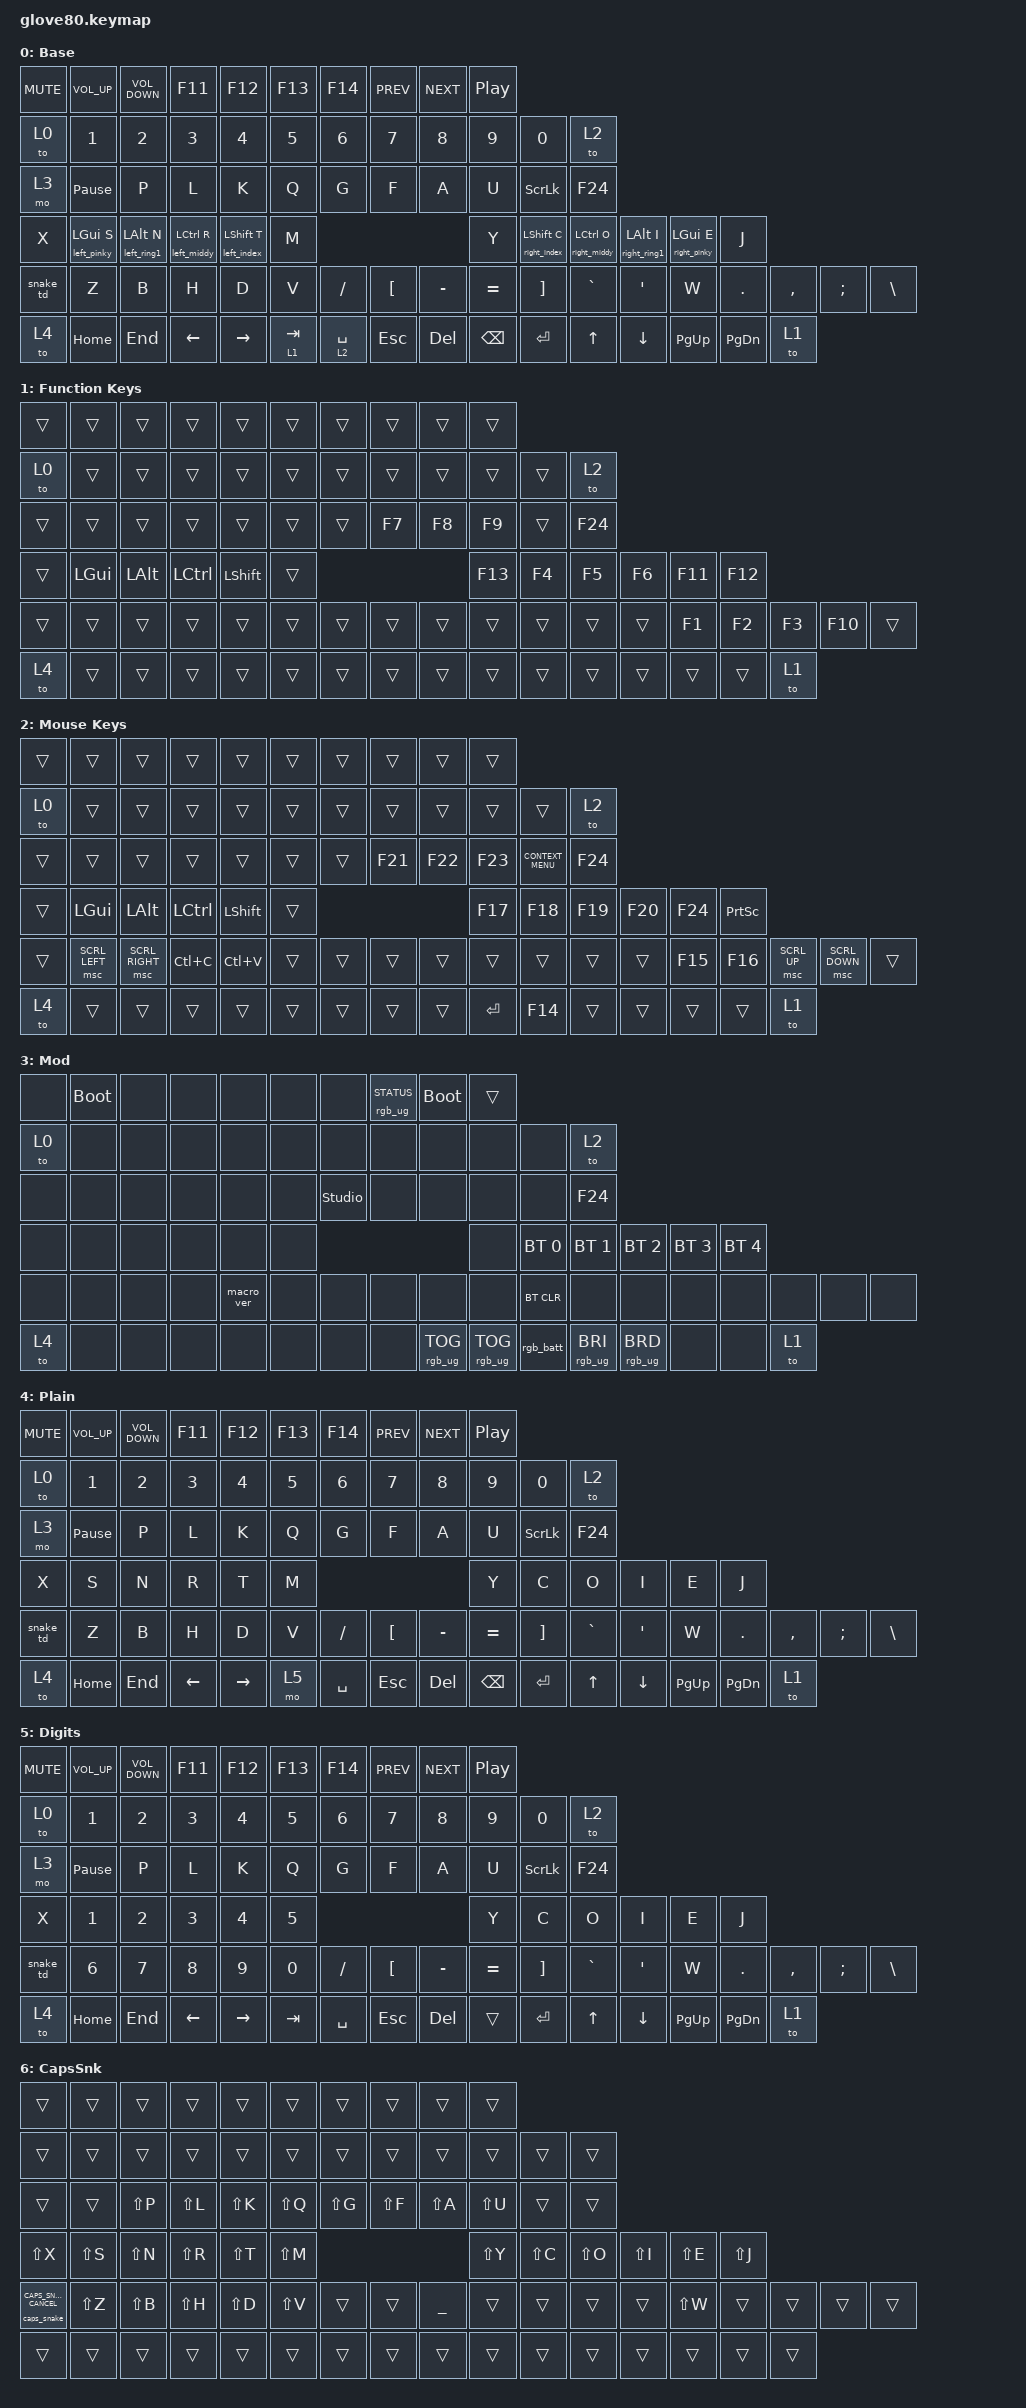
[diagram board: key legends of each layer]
// Generated by node bin/sync_glove80.mjs from config/adv360.keymap.
// See README.md: Glove80 layout mapping and hardware adaptations.
#define GLOVE80 1
#define LEFT_HAND_KEYS 0 1 2 3 4 10 11 12 13 14 15 22 23 24 25 26 27 34 35 36 37 38 39 46 47 48 49 50 51 64 65 66 67 68
#define RIGHT_HAND_KEYS 5 6 7 8 9 16 17 18 19 20 21 28 29 30 31 32 33 40 41 42 43 44 45 58 59 60 61 62 63 75 76 77 78 79
#define THUMB_KEYS 52 53 54 55 56 57 69 70 71 72 73 74
#include "../keyboard-behaviors.dtsi"

/ {
    keymap {
        compatible = "zmk,keymap";

        default_layer {
            display-name = "Base";
            bindings = <
                &kp C_MUTE  &kp C_VOLUME_UP  &kp C_VOLUME_DOWN  &kp F11  &kp F12  &kp F13  &kp F14  &kp C_PREV  &kp C_NEXT  &kp C_PLAY_PAUSE
                &to 0  &kp NUMBER_1  &kp N2  &kp N3  &kp N4  &kp N5  &kp N6  &kp N7  &kp N8  &kp N9  &kp N0  &to 2
                &mo 3  &kp PAUSE_BREAK  &kp P  &kp L  &kp K  &kp Q  &kp G  &kp F  &kp A  &kp U  &kp SCROLLLOCK  &kp F24
                &kp X  &left_pinky LGUI S  &left_ring1 LALT N  &left_middy LCTRL R  &left_index LSHFT T  &kp M  &kp Y  &right_index LSHFT C  &right_middy LCTRL O  &right_ring1 LALT I  &right_pinky LGUI E  &kp J
                &snake_td  &kp Z  &kp B  &kp H  &kp D  &kp V  &kp SLASH  &kp LEFT_BRACKET  &kp MINUS  &kp EQUAL  &kp RIGHT_BRACKET  &kp GRAVE  &kp SQT  &kp W  &kp PERIOD  &kp COMMA  &kp SEMICOLON  &kp BACKSLASH
                &to 4  &kp HOME  &kp END  &kp LEFT  &kp RIGHT  &lt 1 TAB  &lt 2 SPACE  &kp ESCAPE  &kp DELETE  &kp BACKSPACE  &kp ENTER  &kp UP  &kp DOWN  &kp PAGE_UP  &kp PAGE_DOWN  &to 1
            >;
        };

        Function_Keys {
            display-name = "Function Keys";
            bindings = <
                &trans  &trans  &trans  &trans  &trans  &trans  &trans  &trans  &trans  &trans
                &to 0  &trans  &trans  &trans  &trans  &trans  &trans  &trans  &trans  &trans  &trans  &to 2
                &trans  &trans  &trans  &trans  &trans  &trans  &trans  &kp F7  &kp F8  &kp F9  &trans  &kp F24
                &trans  &kp LEFT_GUI  &kp LEFT_ALT  &kp LCTRL  &kp LEFT_SHIFT  &trans  &kp F13  &kp F4  &kp F5  &kp F6  &kp F11  &kp F12
                &trans  &trans  &trans  &trans  &trans  &trans  &trans  &trans  &trans  &trans  &trans  &trans  &trans  &kp F1  &kp F2  &kp F3  &kp F10  &trans
                &to 4  &trans  &trans  &trans  &trans  &trans  &trans  &trans  &trans  &trans  &trans  &trans  &trans  &trans  &trans  &to 1
            >;
        };

        Mouse_Keys {
            display-name = "Mouse Keys";
            bindings = <
                &trans  &trans  &trans  &trans  &trans  &trans  &trans  &trans  &trans  &trans
                &to 0  &trans  &trans  &trans  &trans  &trans  &trans  &trans  &trans  &trans  &trans  &to 2
                &trans  &trans  &trans  &trans  &trans  &trans  &trans  &kp F21  &kp F22  &kp F23  &kp K_CONTEXT_MENU  &kp F24
                &trans  &kp LGUI  &kp LALT  &kp LCTRL  &kp LSHFT  &trans  &kp F17  &kp F18  &kp F19  &kp F20  &kp F24  &kp PRINTSCREEN
                &trans  &msc SCRL_LEFT  &msc SCRL_RIGHT  &kp LC(C)  &kp LC(V)  &trans  &trans  &trans  &trans  &trans  &trans  &trans  &trans  &kp F15  &kp F16  &msc SCRL_UP  &msc SCRL_DOWN  &trans
                &to 4  &trans  &trans  &trans  &trans  &trans  &trans  &trans  &trans  &kp ENTER  &kp F14  &trans  &trans  &trans  &trans  &to 1
            >;
        };

        Meta_BT {
            display-name = "Mod";
            bindings = <
                &none  &bootloader  &none  &none  &none  &none  &none  &rgb_ug RGB_STATUS  &bootloader  &trans
                &to 0  &none  &none  &none  &none  &none  &none  &none  &none  &none  &none  &to 2
                &none  &none  &none  &none  &none  &none  &studio_unlock  &none  &none  &none  &none  &kp F24
                &none  &none  &none  &none  &none  &none  &none  &bt BT_SEL 0  &bt BT_SEL 1  &bt BT_SEL 2  &bt BT_SEL 3  &bt BT_SEL 4
                &none  &none  &none  &none  &macro_ver  &none  &none  &none  &none  &none  &bt BT_CLR  &none  &none  &none  &none  &none  &none  &none
                &to 4  &none  &none  &none  &none  &none  &none  &none  &rgb_ug RGB_TOG  &rgb_ug RGB_TOG  &rgb_batt  &rgb_ug RGB_BRI  &rgb_ug RGB_BRD  &none  &none  &to 1
            >;
        };

        Plain_Base {
            display-name = "Plain";
            bindings = <
                &kp C_MUTE  &kp C_VOLUME_UP  &kp C_VOLUME_DOWN  &kp F11  &kp F12  &kp F13  &kp F14  &kp C_PREV  &kp C_NEXT  &kp C_PLAY_PAUSE
                &to 0  &kp NUMBER_1  &kp N2  &kp N3  &kp N4  &kp N5  &kp N6  &kp N7  &kp N8  &kp N9  &kp N0  &to 2
                &mo 3  &kp PAUSE_BREAK  &kp P  &kp L  &kp K  &kp Q  &kp G  &kp F  &kp A  &kp U  &kp SCROLLLOCK  &kp F24
                &kp X  &kp S  &kp N  &kp R  &kp T  &kp M  &kp Y  &kp C  &kp O  &kp I  &kp E  &kp J
                &snake_td  &kp Z  &kp B  &kp H  &kp D  &kp V  &kp SLASH  &kp LEFT_BRACKET  &kp MINUS  &kp EQUAL  &kp RIGHT_BRACKET  &kp GRAVE  &kp SQT  &kp W  &kp PERIOD  &kp COMMA  &kp SEMICOLON  &kp BACKSLASH
                &to 4  &kp HOME  &kp END  &kp LEFT  &kp RIGHT  &mo 5  &kp SPACE  &kp ESCAPE  &kp DELETE  &kp BACKSPACE  &kp ENTER  &kp UP  &kp DOWN  &kp PAGE_UP  &kp PAGE_DOWN  &to 1
            >;
        };

        Digits {
            display-name = "Digits";
            bindings = <
                &kp C_MUTE  &kp C_VOLUME_UP  &kp C_VOLUME_DOWN  &kp F11  &kp F12  &kp F13  &kp F14  &kp C_PREV  &kp C_NEXT  &kp C_PLAY_PAUSE
                &to 0  &kp NUMBER_1  &kp N2  &kp N3  &kp N4  &kp N5  &kp N6  &kp N7  &kp N8  &kp N9  &kp N0  &to 2
                &mo 3  &kp PAUSE_BREAK  &kp P  &kp L  &kp K  &kp Q  &kp G  &kp F  &kp A  &kp U  &kp SCROLLLOCK  &kp F24
                &kp X  &kp N1  &kp N2  &kp N3  &kp N4  &kp N5  &kp Y  &kp C  &kp O  &kp I  &kp E  &kp J
                &snake_td  &kp N6  &kp N7  &kp N8  &kp N9  &kp N0  &kp SLASH  &kp LEFT_BRACKET  &kp MINUS  &kp EQUAL  &kp RIGHT_BRACKET  &kp GRAVE  &kp SQT  &kp W  &kp PERIOD  &kp COMMA  &kp SEMICOLON  &kp BACKSLASH
                &to 4  &kp HOME  &kp END  &kp LEFT  &kp RIGHT  &kp TAB  &kp SPACE  &kp ESCAPE  &kp DELETE  &trans  &kp ENTER  &kp UP  &kp DOWN  &kp PAGE_UP  &kp PAGE_DOWN  &to 1
            >;
        };

        Caps_Snake {
            display-name = "CapsSnk";
            bindings = <
                &trans  &trans  &trans  &trans  &trans  &trans  &trans  &trans  &trans  &trans
                &trans  &trans  &trans  &trans  &trans  &trans  &trans  &trans  &trans  &trans  &trans  &trans
                &trans  &trans  &kp LS(P)  &kp LS(L)  &kp LS(K)  &kp LS(Q)  &kp LS(G)  &kp LS(F)  &kp LS(A)  &kp LS(U)  &trans  &trans
                &kp LS(X)  &kp LS(S)  &kp LS(N)  &kp LS(R)  &kp LS(T)  &kp LS(M)  &kp LS(Y)  &kp LS(C)  &kp LS(O)  &kp LS(I)  &kp LS(E)  &kp LS(J)
                &caps_snake CAPS_SNAKE_CANCEL  &kp LS(Z)  &kp LS(B)  &kp LS(H)  &kp LS(D)  &kp LS(V)  &trans  &trans  &kp UNDERSCORE  &trans  &trans  &trans  &trans  &kp LS(W)  &trans  &trans  &trans  &trans
                &trans  &trans  &trans  &trans  &trans  &trans  &trans  &trans  &trans  &trans  &trans  &trans  &trans  &trans  &trans  &trans
            >;
        };

        extra4 { display-name = "Yellow"; status = "reserved"; };
    };
};
